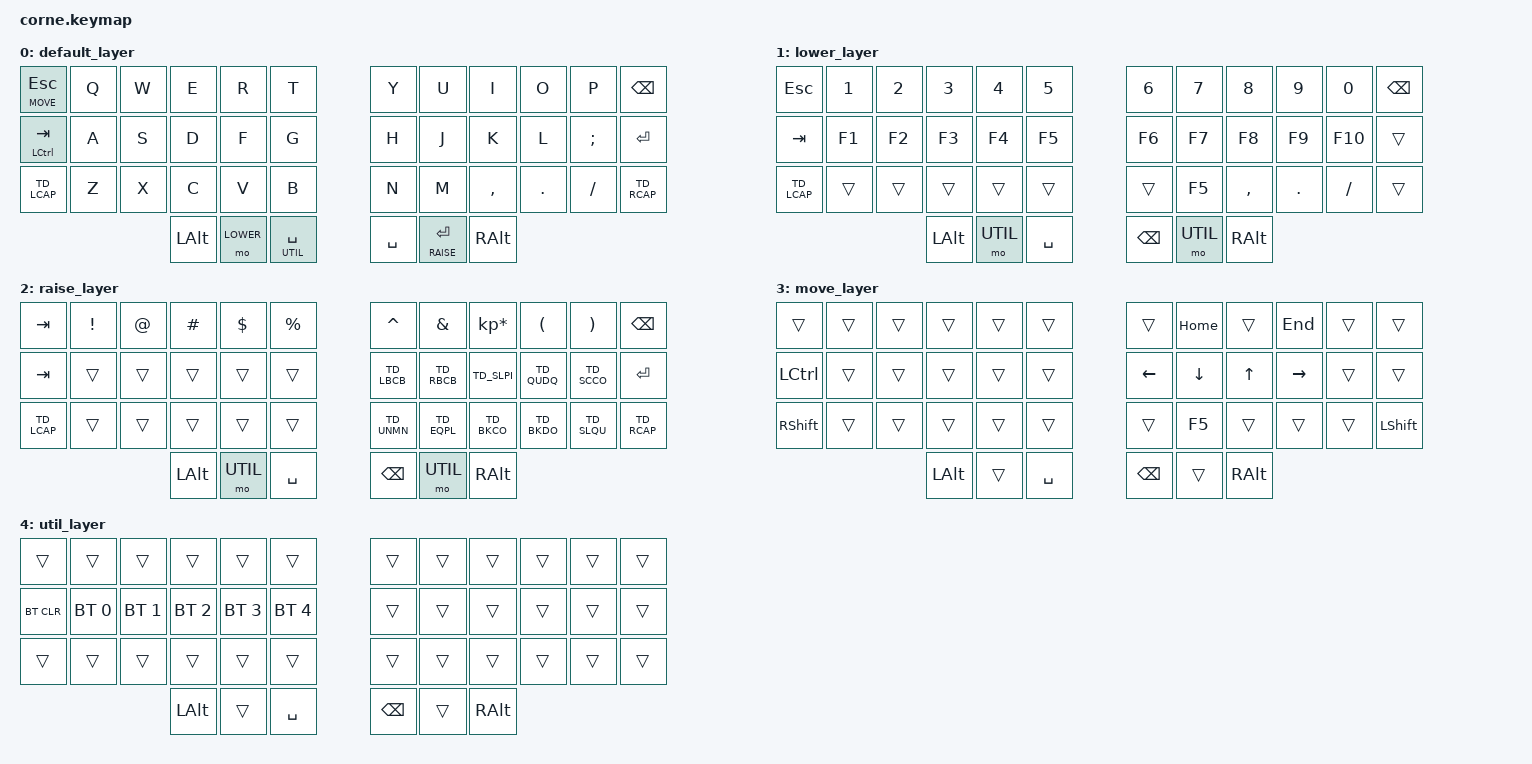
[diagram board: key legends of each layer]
/*
 * Copyright (c) 2020 The ZMK Contributors
 *
 * SPDX-License-Identifier: MIT
 */

#include <behaviors.dtsi>
#include <dt-bindings/zmk/keys.h>
#include <dt-bindings/zmk/bt.h>

#define DEFAULT 0
#define LOWER   1
#define RAISE   2

#define MOVE    3
#define UTIL    4


/ {

   behaviors {

// -----------------------------------------------------------------------------------------
// |  TAB |  !  |  @  |  #  |  $  |  %  |   |  ^  |  &  |  *  |  (  |  )  | BKSP |
// | CTRL |     |     |     |     |     |   |  -  |  =  |  [  |  ]  |  \  |  `   |
// | SHFT |     |     |     |     |     |   |  _  |  +  |  {  |  }  | "|" |  ~   |
//  &kp  TAB  &kp EXCL &kp AT &kp HASH &kp DLLR &kp PRCNT          &kp CARET &kp AMPS  &kp KP_MULTIPLY &kp LPAR &kp RPAR &kp BSPC
// &kp LCTRL &trans   &trans &trans   &trans   &trans             &kp MINUS &kp EQUAL &kp LBKT        &kp RBKT &kp BSLH &kp GRAVE
// &kp LSHFT &trans   &trans &trans   &trans   &trans             &TD_UNMN &kp PLUS  &kp LBRC        &kp RBRC &kp PIPE &kp TILDE
// -----------------------------------------------------------------------------------------
        TD_LBCB: tap_dance_LBCB {
            compatible = "zmk,behavior-tap-dance";
            #binding-cells = <0>;
            tapping-term-ms = <200>;
            bindings = <&kp LBKT>, <&kp LBRC>;
        };

        TD_RBCB: tap_dance_RBCB {
            compatible = "zmk,behavior-tap-dance";
            #binding-cells = <0>;
            tapping-term-ms = <200>;
            bindings = <&kp RBKT>, <&kp RBRC>;
        };

        TD_EQPL: tap_dance_EQPL {
            compatible = "zmk,behavior-tap-dance";
            #binding-cells = <0>;
            tapping-term-ms = <200>;
            bindings = <&kp EQUAL>, <&kp PLUS>;
        };

        TD_UNMN: tap_dance_UNMN {
            compatible = "zmk,behavior-tap-dance";
            #binding-cells = <0>;
            tapping-term-ms = <200>;
            bindings = <&kp UNDER>, <&kp MINUS>;
        };

        TD_SLPI: tap_dance_SLPI {
            compatible = "zmk,behavior-tap-dance";
            #binding-cells = <0>;
            tapping-term-ms = <200>;
            bindings = <&kp BSLH>, <&kp PIPE>;
        };

        TD_GVTL: tap_dance_GVTL {
            compatible = "zmk,behavior-tap-dance";
            #binding-cells = <0>;
            tapping-term-ms = <200>;
            bindings = <&kp GRAVE>, <&kp TILDE>;
        };

        TD_QUDQ: tap_dance_QUDQ {
            compatible = "zmk,behavior-tap-dance";
            #binding-cells = <0>;
            tapping-term-ms = <200>;
            bindings = <&kp SQT>, <&kp DQT>;
        };

        TD_SCCO: tap_dance_SCCO {
            compatible = "zmk,behavior-tap-dance";
            #binding-cells = <0>;
            tapping-term-ms = <200>;
            bindings = <&kp SEMI>, <&kp COMMA>;
        };

        TD_SLQU: tap_dance_SLQU {
            compatible = "zmk,behavior-tap-dance";
            #binding-cells = <0>;
            tapping-term-ms = <200>;
            bindings = <&kp FSLH>, <&kp QUESTION>;
        };

        TD_BKCO: tap_dance_BKCO {
            compatible = "zmk,behavior-tap-dance";
            #binding-cells = <0>;
            tapping-term-ms = <200>;
            bindings = <&kp COMMA>, <&kp LESS_THAN>;
        };

        TD_BKDO: tap_dance_BKDO {
            compatible = "zmk,behavior-tap-dance";
            #binding-cells = <0>;
            tapping-term-ms = <200>;
            bindings = <&kp DOT>, <&kp GREATER_THAN>;
        };

        TD_LCAP: tap_dance_LCAP {
            compatible = "zmk,behavior-tap-dance";
            #binding-cells = <0>;
            tapping-term-ms = <200>;
            bindings = <&kp LSHIFT>, <&kp CAPSLOCK>;
        };

        TD_RCAP: tap_dance_RCAP {
            compatible = "zmk,behavior-tap-dance";
            #binding-cells = <0>;
            tapping-term-ms = <200>;
            bindings = <&kp RSHIFT>, <&kp CAPSLOCK>;
        };

    };
        keymap {
                compatible = "zmk,keymap";

                default_layer {
// -----------------------------------------------------------------------------------------
// |  TAB |  Q  |  W  |  E  |  R  |  T  |   |  Y  |  U   |  I  |  O  |  P  | BKSP |
// | CTRL |  A  |  S  |  D  |  F  |  G  |   |  H  |  J   |  K  |  L  |  ;  |  ENT |
// | SHFT |  Z  |  X  |  C  |  V  |  B  |   |  N  |  M   |  ,  |  .  |  /  | SHFT |
//                    | ALT | LWR | SPC |   | SPC | RSE  | ALT |
                        bindings = <
   &lt MOVE ESC   &kp Q &kp W &kp E &kp R &kp T   &kp Y &kp U  &kp I     &kp O   &kp P    &kp BSPC
   &mt LCTRL TAB  &kp A &kp S &kp D &kp F &kp G   &kp H &kp J  &kp K     &kp L   &kp SEMI &kp RET
   &TD_LCAP &kp Z &kp X &kp C &kp V &kp B   &kp N &kp M  &kp COMMA &kp DOT &kp FSLH &TD_RCAP
                  &kp LALT &mo LOWER &lt UTIL SPACE    &kp SPACE &lt RAISE RET &kp RALT
                        >;
                };
                lower_layer {
// -----------------------------------------------------------------------------------------
// |  ESC |  1  |  2  |  3  |  4  |  5  |   |  6  |  7  |  8  |  9  |  0  | BKSP |
// |  TAB |  F1 |  F2 |  F3 |  F4 |  F5 |   |  F6 |  F7 |  F8 |  F9 |  F10| BKSP |
// | SHFT |     |     |     |     |     |   |     |  F5 |COMMA| DOT | FSLH|      |
//                    | GUI | UTIL| SPC |   | SPC | UTIL| RALT|
                        bindings = <
   &kp ESC    &kp N1       &kp N2       &kp N3       &kp N4       &kp N5         &kp N6   &kp N7   &kp N8 &kp N9        &kp N0   &kp BSPC
   &kp TAB    &kp F1       &kp F2       &kp F3       &kp F4       &kp F5         &kp F6   &kp F7   &kp F8 &kp F9        &kp F10  &trans
   &TD_LCAP  &trans       &trans       &trans       &trans       &trans         &trans   &kp F5   &kp COMMA &kp DOT    &kp FSLH &trans
                                    &kp LALT     &mo UTIL       &kp SPACE      &kp BSPC  &mo UTIL    &kp RALT
                        >;
                };

                raise_layer {
// -----------------------------------------------------------------------------------------
// |  TAB |  !  |  @  |  #  |  $  |  %  |   |  ^  |  &  |  *  |  (  |  )  | BKSP |
// | CTRL |     |     |     |     |     |   |  -  |  =  |  [  |  ]  |  \  |  `   |
// | SHFT |     |     |     |     |     |   |  _  |  +  |  {  |  }  | "|" |  ~   |
//                    | GUI |     | SPC |   | ENT |     | ALT |
                        bindings = <
   &kp  TAB  &kp EXCL &kp AT &kp HASH &kp DLLR &kp PRCNT           &kp CARET &kp AMPS  &kp KP_MULTIPLY &kp LPAR &kp RPAR &kp BSPC
   &kp TAB  &trans   &trans &trans   &trans   &trans              &TD_LBCB  &TD_RBCB  &TD_SLPI        &TD_QUDQ &TD_SCCO &kp RET
   &TD_LCAP &trans   &trans &trans   &trans   &trans              &TD_UNMN  &TD_EQPL  &TD_BKCO        &TD_BKDO &TD_SLQU &TD_RCAP
                             &kp LALT &mo UTIL   &kp SPACE   &kp BSPC   &mo UTIL    &kp RALT
                        >;
                };

                move_layer {
// -----------------------------------------------------------------------------------------
// | SHFT |     |     |     |     |     |   |     | HOME|     | END |     |      |
// | BTCLR|     |     |     |     |     |   | LFT | DWN |  UP | RGT |     |      |
// | SHFT |     |     |     |     |     |   |     |     |     |     |     |      |
//                    | GUI |     | SPC |   | ENT |     | ALT |
                        bindings = <
   &trans       &trans       &trans       &trans       &trans       &trans          &trans    &kp HOME       &trans       &kp END    &trans       &trans 
   &kp LCTRL      &trans       &trans       &trans       &trans       &trans          &kp LEFT  &kp DOWN     &kp UP       &kp RIGHT    &trans       &trans
   &kp RSHIFT       &trans       &trans       &trans       &trans       &trans          &trans     &kp F5      &trans       &trans       &trans       &kp LSHIFT 
                                    &kp LALT     &trans       &kp SPACE      &kp BSPC  &trans   &kp RALT
                        >;
                };

                util_layer {
// -----------------------------------------------------------------------------------------
// |  TAB |  1  |  2  |  3  |  4  |  5  |   |  6  |  7  |  8  |  9  |  0  | BKSP |
// | BTCLR| BT1 | BT2 | BT3 | BT4 | BT5 |   | LFT | DWN |  UP | RGT |     |      |
// | SHFT |     |     |     |     |     |   |     |     |     |     |     |      |
//                    | GUI |     | SPC |   | ENT |     | ALT |
                        bindings = <
   &trans       &trans       &trans       &trans       &trans       &trans            &trans    &trans       &trans       &trans       &trans       &trans 
   &bt BT_CLR   &bt BT_SEL 0 &bt BT_SEL 1 &bt BT_SEL 2 &bt BT_SEL 3 &bt BT_SEL 4      &trans    &trans       &trans       &trans       &trans       &trans
   &trans       &trans       &trans       &trans       &trans       &trans            &trans    &trans       &trans       &trans       &trans       &trans 
                                    &kp LALT     &trans       &kp SPACE      &kp BSPC  &trans   &kp RALT
                        >;
                };

        };
};
